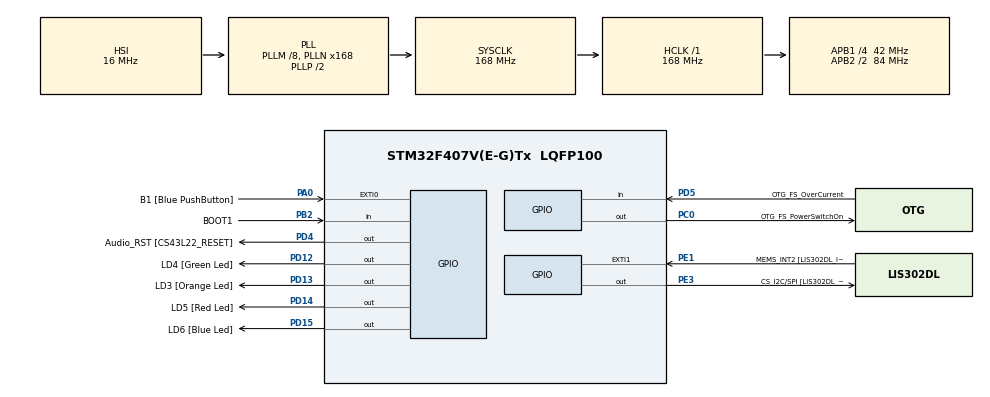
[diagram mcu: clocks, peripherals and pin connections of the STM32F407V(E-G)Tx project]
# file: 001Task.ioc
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Mcu.Family=STM32F4
Mcu.Name=STM32F407V(E-G)Tx
Mcu.Package=LQFP100
NVIC.PriorityGroup=NVIC_PRIORITYGROUP_4
NVIC.TIM6_DAC_IRQn=true\:0\:0\:false\:false\:true\:false\:true\:true
NVIC.TimeBase=TIM6_DAC_IRQn
NVIC.TimeBaseIP=TIM6
PA0-WKUP.GPIO_Label=B1 [Blue PushButton]
PA0-WKUP.Signal=GPXTI0
PA10.GPIO_Label=OTG_FS_ID
PA10.GPIO_Mode=GPIO_MODE_AF_PP
PA10.GPIO_PuPd=GPIO_NOPULL
PA10.GPIO_Speed=GPIO_SPEED_FREQ_LOW
PA10.Signal=USB_OTG_FS_ID
PA11.GPIO_Label=OTG_FS_DM
PA11.GPIO_Mode=GPIO_MODE_AF_PP
PA11.GPIO_PuPd=GPIO_NOPULL
PA11.GPIO_Speed=GPIO_SPEED_FREQ_LOW
PA11.Signal=USB_OTG_FS_DM
PA12.GPIO_Label=OTG_FS_DP
PA12.GPIO_Mode=GPIO_MODE_AF_PP
PA12.GPIO_PuPd=GPIO_NOPULL
PA12.GPIO_Speed=GPIO_SPEED_FREQ_LOW
PA12.Signal=USB_OTG_FS_DP
PA13.GPIO_Label=SWDIO
PA13.Signal=SYS_JTMS-SWDIO
PA14.GPIO_Label=SWCLK
PA14.Signal=SYS_JTCK-SWCLK
PA4.GPIO_Label=I2S3_WS [CS43L22_LRCK]
PA4.GPIO_Mode=GPIO_MODE_AF_PP
PA4.GPIO_PuPd=GPIO_NOPULL
PA4.GPIO_Speed=GPIO_SPEED_FREQ_LOW
PA4.Signal=I2S3_WS
PA5.GPIO_Label=SPI1_SCK [LIS302DL_SCL/SPC]
PA5.GPIO_Mode=GPIO_MODE_AF_PP
PA5.GPIO_PuPd=GPIO_NOPULL
PA5.GPIO_Speed=GPIO_SPEED_FREQ_LOW
PA5.Signal=SPI1_SCK
PA6.GPIO_Label=SPI1_MISO [LIS302DL_SDO]
PA6.GPIO_Mode=GPIO_MODE_AF_PP
PA6.GPIO_PuPd=GPIO_NOPULL
PA6.GPIO_Speed=GPIO_SPEED_FREQ_LOW
PA6.Signal=SPI1_MISO
PA7.GPIO_Label=SPI1_MOSI [LIS302DL_SDA/SDI/SDO]
PA7.GPIO_Mode=GPIO_MODE_AF_PP
PA7.GPIO_PuPd=GPIO_NOPULL
PA7.GPIO_Speed=GPIO_SPEED_FREQ_LOW
PA7.Signal=SPI1_MOSI
PA9.GPIO_Label=VBUS_FS
PA9.GPIO_Mode=GPIO_MODE_INPUT
PA9.GPIO_PuPd=GPIO_NOPULL
PA9.Signal=USB_OTG_FS_VBUS
PB10.GPIO_Label=CLK_IN [MP45DT02_CLK]
PB10.GPIO_Mode=GPIO_MODE_AF_PP
PB10.GPIO_PuPd=GPIO_NOPULL
PB10.GPIO_Speed=GPIO_SPEED_FREQ_LOW
PB10.Signal=I2S2_CK
PB2.GPIO_Label=BOOT1
PB2.GPIO_Mode=GPIO_MODE_INPUT
PB2.GPIO_PuPd=GPIO_NOPULL
PB2.Signal=GPIO_Input
PB3.GPIO_Label=SWO
PB3.Signal=SYS_JTDO-SWO
PB6.GPIO_Label=Audio_SCL [CS43L22_SCL]
PB6.GPIO_Mode=GPIO_MODE_AF_OD
PB6.GPIO_PuPd=GPIO_NOPULL
PB6.GPIO_Speed=GPIO_SPEED_FREQ_LOW
PB6.Signal=I2C1_SCL
PB9.GPIO_Label=Audio_SDA [CS43L22_SDA]
PB9.GPIO_Mode=GPIO_MODE_AF_OD
PB9.GPIO_PuPd=GPIO_NOPULL
PB9.GPIO_Speed=GPIO_SPEED_FREQ_LOW
PB9.Signal=I2C1_SDA
PC0.GPIO_Label=OTG_FS_PowerSwitchOn
PC0.GPIO_PuPd=GPIO_NOPULL
PC0.GPIO_Speed=GPIO_SPEED_FREQ_LOW
PC0.PinState=GPIO_PIN_SET
PC0.Signal=GPIO_Output
PC10.GPIO_Label=I2S3_SCK [CS43L22_SCLK]
PC10.GPIO_Mode=GPIO_MODE_AF_PP
PC10.GPIO_PuPd=GPIO_NOPULL
PC10.GPIO_Speed=GPIO_SPEED_FREQ_LOW
PC10.Signal=I2S3_CK
PC12.GPIO_Label=I2S3_SD [CS43L22_SDIN]
PC12.GPIO_Mode=GPIO_MODE_AF_PP
PC12.GPIO_PuPd=GPIO_NOPULL
PC12.GPIO_Speed=GPIO_SPEED_FREQ_LOW
PC12.Signal=I2S3_SD
PC14-OSC32_IN.GPIO_Label=PC14-OSC32_IN
PC14-OSC32_IN.Signal=RCC_OSC32_IN
PC15-OSC32_OUT.GPIO_Label=PC15-OSC32_OUT
PC15-OSC32_OUT.Signal=RCC_OSC32_OUT
PC3.GPIO_Label=PDM_OUT [MP45DT02_DOUT]
PC3.GPIO_Mode=GPIO_MODE_AF_PP
PC3.GPIO_PuPd=GPIO_NOPULL
PC3.GPIO_Speed=GPIO_SPEED_FREQ_LOW
PC3.Signal=I2S2_SD
PC7.GPIO_Label=I2S3_MCK [CS43L22_MCLK]
PC7.GPIO_Mode=GPIO_MODE_AF_PP
PC7.GPIO_PuPd=GPIO_NOPULL
PC7.GPIO_Speed=GPIO_SPEED_FREQ_LOW
PC7.Signal=I2S3_MCK
PD12.GPIO_Label=LD4 [Green Led]
PD12.GPIO_PuPd=GPIO_NOPULL
PD12.GPIO_Speed=GPIO_SPEED_FREQ_LOW
PD12.Signal=GPIO_Output
PD13.GPIO_Label=LD3 [Orange Led]
PD13.GPIO_PuPd=GPIO_NOPULL
PD13.GPIO_Speed=GPIO_SPEED_FREQ_LOW
PD13.Signal=GPIO_Output
PD14.GPIO_Label=LD5 [Red Led]
PD14.GPIO_PuPd=GPIO_NOPULL
PD14.GPIO_Speed=GPIO_SPEED_FREQ_LOW
PD14.Signal=GPIO_Output
PD15.GPIO_Label=LD6 [Blue Led]
PD15.GPIO_PuPd=GPIO_NOPULL
PD15.GPIO_Speed=GPIO_SPEED_FREQ_LOW
PD15.Signal=GPIO_Output
PD4.GPIO_Label=Audio_RST [CS43L22_RESET]
PD4.GPIO_PuPd=GPIO_NOPULL
PD4.GPIO_Speed=GPIO_SPEED_FREQ_LOW
PD4.Signal=GPIO_Output
PD5.GPIO_Label=OTG_FS_OverCurrent
PD5.GPIO_Mode=GPIO_MODE_INPUT
PD5.GPIO_PuPd=GPIO_NOPULL
PD5.Signal=GPIO_Input
PE1.GPIO_Label=MEMS_INT2 [LIS302DL_INT2]
PE1.GPIO_ModeDefaultEXTI=GPIO_MODE_EVT_RISING
PE1.GPIO_PuPd=GPIO_NOPULL
PE1.Signal=GPXTI1
PE3.GPIO_Label=CS_I2C/SPI [LIS302DL_CS_I2C/SPI]
PE3.GPIO_PuPd=GPIO_NOPULL
PE3.GPIO_Speed=GPIO_SPEED_FREQ_LOW
PE3.Signal=GPIO_Output
PH0-OSC_IN.GPIO_Label=PH0-OSC_IN
PH0-OSC_IN.Signal=RCC_OSC_IN
PH1-OSC_OUT.GPIO_Label=PH1-OSC_OUT
PH1-OSC_OUT.Signal=RCC_OSC_OUT
ProjectManager.HeapSize=0x200
ProjectManager.StackSize=0x400
ProjectManager.TargetToolchain=STM32CubeIDE
RCC.48MHZClocksFreq_Value=48000000
RCC.AHBFreq_Value=168000000
RCC.APB1CLKDivider=RCC_HCLK_DIV4
RCC.APB1Freq_Value=42000000
RCC.APB1TimFreq_Value=84000000
RCC.APB2CLKDivider=RCC_HCLK_DIV2
RCC.APB2Freq_Value=84000000
RCC.APB2TimFreq_Value=168000000
RCC.CortexFreq_Value=168000000
RCC.HCLKFreq_Value=168000000
RCC.HSE_VALUE=8000000
RCC.HSI_VALUE=16000000
RCC.LSE_VALUE=32768
RCC.PLLM=8
RCC.PLLN=168
RCC.PLLQ=7
RCC.SYSCLKFreq_VALUE=168000000
RCC.SYSCLKSource=RCC_SYSCLKSOURCE_PLLCLK
RCC.VCOOutputFreq_Value=336000000
VP_SYS_VS_tim6.Mode=TIM6
board=STM32F407G-DISC1

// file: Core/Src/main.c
/* USER CODE BEGIN Header */
/**
  ******************************************************************************
  * @file           : main.c
  * @brief          : Main program body
  ******************************************************************************
  * @attention
  *
  * Copyright (c) 2026 STMicroelectronics.
  * All rights reserved.
  *
  * This software is licensed under terms that can be found in the LICENSE file
  * in the root directory of this software component.
  * If no LICENSE file comes with this software, it is provided AS-IS.
  *
  ******************************************************************************
  */
/* USER CODE END Header */
#include "main.h"

/* USER CODE BEGIN Includes */

#include "FreeRTOS.h"
#include "task.h"
#include <stdio.h>

/* USER CODE END Includes */

/* USER CODE BEGIN PV */

#define DWT_CTRL	(*(volatile uint32_t*)0xE0001000)

/* USER CODE END PV */

void SystemClock_Config(void);
static void MX_GPIO_Init(void);
/* USER CODE BEGIN PFP */
static void task1_handler();
static void task2_handler();
/* USER CODE END PFP */

int main(void)
{

  /* USER CODE BEGIN 1 */

	TaskHandle_t task1_handle;
	TaskHandle_t task2_handle;

	BaseType_t status;

  /* USER CODE END 1 */

  /* MCU Configuration--------------------------------------------------------*/

  /* Reset of all peripherals, Initializes the Flash interface and the Systick. */
  HAL_Init();

  /* Configure the system clock */
  SystemClock_Config();

  /* Initialize all configured peripherals */
  MX_GPIO_Init();
  /* USER CODE BEGIN 2 */

  //enable CYCCNT counter
  DWT_CTRL |= (1<<0);

  SEGGER_UART_init(500000);

  SEGGER_SYSVIEW_Conf();

  //SEGGER_SYSVIEW_Start();

  status = xTaskCreate(task2_handler, "task 2 ", 200, "Hello from task 2", 2, &task2_handle);
  configASSERT(status == pdPASS);

  status = xTaskCreate(task1_handler, "task 1 ", 200, "Hello from task 1", 2, &task1_handle);
  configASSERT(status == pdPASS);

  //start freeRTOS
  vTaskStartScheduler();

  /* USER CODE END 2 */

  /* Infinite loop */
  while (1)
  {

  }
}

void SystemClock_Config(void)
{
  RCC_OscInitTypeDef RCC_OscInitStruct = {0};
  RCC_ClkInitTypeDef RCC_ClkInitStruct = {0};

  /** Configure the main internal regulator output voltage
  */
  __HAL_RCC_PWR_CLK_ENABLE();
  __HAL_PWR_VOLTAGESCALING_CONFIG(PWR_REGULATOR_VOLTAGE_SCALE1);

  /** Initializes the RCC Oscillators according to the specified parameters
  * in the RCC_OscInitTypeDef structure.
  */
  RCC_OscInitStruct.OscillatorType = RCC_OSCILLATORTYPE_HSI;
  RCC_OscInitStruct.HSIState = RCC_HSI_ON;
  RCC_OscInitStruct.HSICalibrationValue = RCC_HSICALIBRATION_DEFAULT;
  RCC_OscInitStruct.PLL.PLLState = RCC_PLL_ON;
  RCC_OscInitStruct.PLL.PLLSource = RCC_PLLSOURCE_HSI;
  RCC_OscInitStruct.PLL.PLLM = 8;
  RCC_OscInitStruct.PLL.PLLN = 168;
  RCC_OscInitStruct.PLL.PLLP = RCC_PLLP_DIV2;
  RCC_OscInitStruct.PLL.PLLQ = 7;
  if (HAL_RCC_OscConfig(&RCC_OscInitStruct) != HAL_OK)
  {
    Error_Handler();
  }

  /** Initializes the CPU, AHB and APB buses clocks
  */
  RCC_ClkInitStruct.ClockType = RCC_CLOCKTYPE_HCLK|RCC_CLOCKTYPE_SYSCLK
                              |RCC_CLOCKTYPE_PCLK1|RCC_CLOCKTYPE_PCLK2;
  RCC_ClkInitStruct.SYSCLKSource = RCC_SYSCLKSOURCE_PLLCLK;
  RCC_ClkInitStruct.AHBCLKDivider = RCC_SYSCLK_DIV1;
  RCC_ClkInitStruct.APB1CLKDivider = RCC_HCLK_DIV4;
  RCC_ClkInitStruct.APB2CLKDivider = RCC_HCLK_DIV2;

  if (HAL_RCC_ClockConfig(&RCC_ClkInitStruct, FLASH_LATENCY_5) != HAL_OK)
  {
    Error_Handler();
  }
}

static void MX_GPIO_Init(void)
{
  GPIO_InitTypeDef GPIO_InitStruct = {0};

  /* GPIO Ports Clock Enable */
  __HAL_RCC_GPIOE_CLK_ENABLE();
  __HAL_RCC_GPIOC_CLK_ENABLE();
  __HAL_RCC_GPIOH_CLK_ENABLE();
  __HAL_RCC_GPIOA_CLK_ENABLE();
  __HAL_RCC_GPIOB_CLK_ENABLE();
  __HAL_RCC_GPIOD_CLK_ENABLE();

  /*Configure GPIO pin Output Level */
  HAL_GPIO_WritePin(CS_I2C_SPI_GPIO_Port, CS_I2C_SPI_Pin, GPIO_PIN_RESET);

  /*Configure GPIO pin Output Level */
  HAL_GPIO_WritePin(OTG_FS_PowerSwitchOn_GPIO_Port, OTG_FS_PowerSwitchOn_Pin, GPIO_PIN_SET);

  /*Configure GPIO pin Output Level */
  HAL_GPIO_WritePin(GPIOD, LD4_Pin|LD3_Pin|LD5_Pin|LD6_Pin
                          |Audio_RST_Pin, GPIO_PIN_RESET);

  /*Configure GPIO pin : CS_I2C_SPI_Pin */
  GPIO_InitStruct.Pin = CS_I2C_SPI_Pin;
  GPIO_InitStruct.Mode = GPIO_MODE_OUTPUT_PP;
  GPIO_InitStruct.Pull = GPIO_NOPULL;
  GPIO_InitStruct.Speed = GPIO_SPEED_FREQ_LOW;
  HAL_GPIO_Init(CS_I2C_SPI_GPIO_Port, &GPIO_InitStruct);

  /*Configure GPIO pin : OTG_FS_PowerSwitchOn_Pin */
  GPIO_InitStruct.Pin = OTG_FS_PowerSwitchOn_Pin;
  GPIO_InitStruct.Mode = GPIO_MODE_OUTPUT_PP;
  GPIO_InitStruct.Pull = GPIO_NOPULL;
  GPIO_InitStruct.Speed = GPIO_SPEED_FREQ_LOW;
  HAL_GPIO_Init(OTG_FS_PowerSwitchOn_GPIO_Port, &GPIO_InitStruct);

  /*Configure GPIO pin : PDM_OUT_Pin */
  GPIO_InitStruct.Pin = PDM_OUT_Pin;
  GPIO_InitStruct.Mode = GPIO_MODE_AF_PP;
  GPIO_InitStruct.Pull = GPIO_NOPULL;
  GPIO_InitStruct.Speed = GPIO_SPEED_FREQ_LOW;
  GPIO_InitStruct.Alternate = GPIO_AF5_SPI2;
  HAL_GPIO_Init(PDM_OUT_GPIO_Port, &GPIO_InitStruct);

  /*Configure GPIO pin : B1_Pin */
  GPIO_InitStruct.Pin = B1_Pin;
  GPIO_InitStruct.Mode = GPIO_MODE_IT_RISING;
  GPIO_InitStruct.Pull = GPIO_NOPULL;
  HAL_GPIO_Init(B1_GPIO_Port, &GPIO_InitStruct);

  /*Configure GPIO pin : I2S3_WS_Pin */
  GPIO_InitStruct.Pin = I2S3_WS_Pin;
  GPIO_InitStruct.Mode = GPIO_MODE_AF_PP;
  GPIO_InitStruct.Pull = GPIO_NOPULL;
  GPIO_InitStruct.Speed = GPIO_SPEED_FREQ_LOW;
  GPIO_InitStruct.Alternate = GPIO_AF6_SPI3;
  HAL_GPIO_Init(I2S3_WS_GPIO_Port, &GPIO_InitStruct);

  /*Configure GPIO pins : SPI1_SCK_Pin SPI1_MISO_Pin SPI1_MOSI_Pin */
  GPIO_InitStruct.Pin = SPI1_SCK_Pin|SPI1_MISO_Pin|SPI1_MOSI_Pin;
  GPIO_InitStruct.Mode = GPIO_MODE_AF_PP;
  GPIO_InitStruct.Pull = GPIO_NOPULL;
  GPIO_InitStruct.Speed = GPIO_SPEED_FREQ_LOW;
  GPIO_InitStruct.Alternate = GPIO_AF5_SPI1;
  HAL_GPIO_Init(GPIOA, &GPIO_InitStruct);

  /*Configure GPIO pin : BOOT1_Pin */
  GPIO_InitStruct.Pin = BOOT1_Pin;
  GPIO_InitStruct.Mode = GPIO_MODE_INPUT;
  GPIO_InitStruct.Pull = GPIO_NOPULL;
  HAL_GPIO_Init(BOOT1_GPIO_Port, &GPIO_InitStruct);

  /*Configure GPIO pin : CLK_IN_Pin */
  GPIO_InitStruct.Pin = CLK_IN_Pin;
  GPIO_InitStruct.Mode = GPIO_MODE_AF_PP;
  GPIO_InitStruct.Pull = GPIO_NOPULL;
  GPIO_InitStruct.Speed = GPIO_SPEED_FREQ_LOW;
  GPIO_InitStruct.Alternate = GPIO_AF5_SPI2;
  HAL_GPIO_Init(CLK_IN_GPIO_Port, &GPIO_InitStruct);

  /*Configure GPIO pins : LD4_Pin LD3_Pin LD5_Pin LD6_Pin
                           Audio_RST_Pin */
  GPIO_InitStruct.Pin = LD4_Pin|LD3_Pin|LD5_Pin|LD6_Pin
                          |Audio_RST_Pin;
  GPIO_InitStruct.Mode = GPIO_MODE_OUTPUT_PP;
  GPIO_InitStruct.Pull = GPIO_NOPULL;
  GPIO_InitStruct.Speed = GPIO_SPEED_FREQ_LOW;
  HAL_GPIO_Init(GPIOD, &GPIO_InitStruct);

  /*Configure GPIO pins : I2S3_MCK_Pin I2S3_SCK_Pin I2S3_SD_Pin */
  GPIO_InitStruct.Pin = I2S3_MCK_Pin|I2S3_SCK_Pin|I2S3_SD_Pin;
  GPIO_InitStruct.Mode = GPIO_MODE_AF_PP;
  GPIO_InitStruct.Pull = GPIO_NOPULL;
  GPIO_InitStruct.Speed = GPIO_SPEED_FREQ_LOW;
  GPIO_InitStruct.Alternate = GPIO_AF6_SPI3;
  HAL_GPIO_Init(GPIOC, &GPIO_InitStruct);

  /*Configure GPIO pin : VBUS_FS_Pin */
  GPIO_InitStruct.Pin = VBUS_FS_Pin;
  GPIO_InitStruct.Mode = GPIO_MODE_INPUT;
  GPIO_InitStruct.Pull = GPIO_NOPULL;
  HAL_GPIO_Init(VBUS_FS_GPIO_Port, &GPIO_InitStruct);

  /*Configure GPIO pins : OTG_FS_ID_Pin OTG_FS_DM_Pin OTG_FS_DP_Pin */
  GPIO_InitStruct.Pin = OTG_FS_ID_Pin|OTG_FS_DM_Pin|OTG_FS_DP_Pin;
  GPIO_InitStruct.Mode = GPIO_MODE_AF_PP;
  GPIO_InitStruct.Pull = GPIO_NOPULL;
  GPIO_InitStruct.Speed = GPIO_SPEED_FREQ_LOW;
  GPIO_InitStruct.Alternate = GPIO_AF10_OTG_FS;
  HAL_GPIO_Init(GPIOA, &GPIO_InitStruct);

  /*Configure GPIO pin : OTG_FS_OverCurrent_Pin */
  GPIO_InitStruct.Pin = OTG_FS_OverCurrent_Pin;
  GPIO_InitStruct.Mode = GPIO_MODE_INPUT;
  GPIO_InitStruct.Pull = GPIO_NOPULL;
  HAL_GPIO_Init(OTG_FS_OverCurrent_GPIO_Port, &GPIO_InitStruct);

  /*Configure GPIO pins : Audio_SCL_Pin Audio_SDA_Pin */
  GPIO_InitStruct.Pin = Audio_SCL_Pin|Audio_SDA_Pin;
  GPIO_InitStruct.Mode = GPIO_MODE_AF_OD;
  GPIO_InitStruct.Pull = GPIO_NOPULL;
  GPIO_InitStruct.Speed = GPIO_SPEED_FREQ_LOW;
  GPIO_InitStruct.Alternate = GPIO_AF4_I2C1;
  HAL_GPIO_Init(GPIOB, &GPIO_InitStruct);

  /*Configure GPIO pin : MEMS_INT2_Pin */
  GPIO_InitStruct.Pin = MEMS_INT2_Pin;
  GPIO_InitStruct.Mode = GPIO_MODE_EVT_RISING;
  GPIO_InitStruct.Pull = GPIO_NOPULL;
  HAL_GPIO_Init(MEMS_INT2_GPIO_Port, &GPIO_InitStruct);

}

/* USER CODE BEGIN 4 */

static void task1_handler(void *parameter)
{
	char msg[100];
	while(1)
	{
		snprintf(msg,100,"%s\n",(char *)parameter);
		SEGGER_SYSVIEW_PrintfTarget(msg);

		taskYIELD();
	}
}

static void task2_handler(void *parameter)
{
	char msg[100];
	while(1)
	{
		snprintf(msg,100,"%s\n",(char *)parameter);
		SEGGER_SYSVIEW_PrintfTarget(msg);

		taskYIELD();
	}
}

/* USER CODE END 4 */

void HAL_TIM_PeriodElapsedCallback(TIM_HandleTypeDef *htim)
{
  if (htim->Instance == TIM6)
  {
    HAL_IncTick();
  }
}

void Error_Handler(void)
{
  __disable_irq();
  while (1)
  {
  }
}
